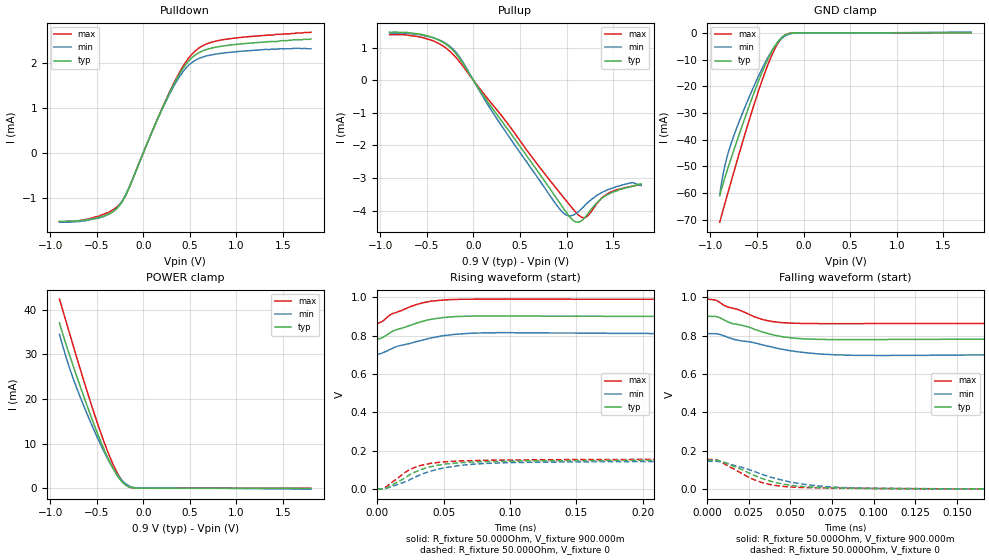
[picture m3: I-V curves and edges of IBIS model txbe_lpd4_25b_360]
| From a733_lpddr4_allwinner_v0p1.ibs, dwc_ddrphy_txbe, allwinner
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[Model] txbe_lpd4_25b_360
Model_type   I/O
Polarity   Non-Inverting
Enable   Active-High
C_comp   1.517pF   1.510pF   1.525pF
C_comp_pullup   266.985fF   265.527fF   270.313fF
C_comp_pulldown 1.187pF   1.184pF   1.202pF
Vinh = 500.000mV
Vinl = 390.000mV
Vmeas = 440.000mV
Vref = 440.000mV
Rref = 50Ohms
Cref = 0pF
[Model Spec]
Vinh   500.000mV   484.000mV   528.000mV
Vinl   390.000mV   364.000mV   408.000mV
Vmeas   440.000mV   424.000mV   468.000mV
Vref   440.000mV   424.000mV   468.000mV
D_overshoot_ampl_h 0.1 NA   NA
D_overshoot_ampl_l 0.1 NA   NA
D_overshoot_area_l 300.000m NA   NA
D_overshoot_area_h 300.000m NA   NA
[Receiver Thresholds]
Vth = 220.000mV
Vth_min = 212.000mV
Vth_max = 234.000mV
Vinh_ac = 60.000mV
Vinh_dc = 60.000mV
Vinl_ac = -60.000mV
Vinl_dc = -60.000mV
Tslew_ac = 5.000ns
Threshold_sensitivity = 0.5
Reference_supply Pullup_ref
[Temperature Range]   25.000   125.000   -40.000
[Voltage Range]   900.000mV   810.000mV   990.000mV
[GND Clamp Reference]   0.00V   0.00V   0.00V
[C Comp Corner]
| variable   typ   min   max
C_comp 1.517pF   1.525pF   1.510pF
C_comp_pullup 270.313fF   266.985fF   265.527fF
C_comp_pulldown 1.187pF   1.202pF   1.184pF
[Pulldown Reference]   0.00V   0.00V   0.00V
[POWER Clamp Reference]   900.000mV   810.000mV   990.000mV
[Pullup Reference]   900.000mV   810.000mV   990.000mV
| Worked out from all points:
|   slope of the pulldown table from 0 to 0.135 V, typ, clamps not added: 203 ohm
|   slope of the pullup table from 0 to 0.135 V, typ, clamps not added: 231 ohm
|   GND clamp passes 1 mA (typ) near -0.21 V on its own axis
|   POWER clamp passes 1 mA (typ) near -0.21 V on its own axis
|   rising waveform, R_fixture 50.000Ohm, V_fixture 900.000m: 20-80 % time 27.5ps typ, 32.3ps min, 24.4ps max; typ from 0.782 V to 0.9 V
|   rising waveform, R_fixture 50.000Ohm, V_fixture 0: 20-80 % time 29.4ps typ, 37.3ps min, 22.8ps max; typ from 0 V to 0.151 V
|   falling waveform, R_fixture 50.000Ohm, V_fixture 900.000m: 20-80 % time 27.4ps typ, 35.3ps min, 22.4ps max; typ from 0.9 V to 0.782 V
|   falling waveform, R_fixture 50.000Ohm, V_fixture 0: 20-80 % time 28.1ps typ, 35.5ps min, 22.6ps max; typ from 0.152 V to 0.001 V
[GND Clamp]
-900mV    -60.96mA   -60.97mA   -70.98mA
-870mV    -57.21mA   -54.02mA   -67.17mA
-840mV    -53.78mA   -49.01mA   -63.42mA
-810mV    -50.5mA    -45.07mA   -59.71mA
-760mV    -45.19mA   -39.68mA   -53.57mA
-650mV    -33.92mA   -29.66mA   -40.39mA
-480mV    -17.79mA   -15.95mA   -21.39mA
-370mV    -8.938mA   -8.44mA    -10.81mA
-290mV    -3.987mA   -4.171mA   -4.779mA
-200mV    -815.6uA   -1.181mA   -860.1uA
-40mV     -3.558uA   -14.64uA   -1.452uA
1.8V      69.75uA    286.1uA    56.25uA
[Power Clamp]
-900mV    37.05mA    34.48mA    42.39mA
-800mV    30.35mA    27.44mA    35.29mA
-720mV    25.39mA    22.72mA    29.66mA
-580mV    17.13mA    15.46mA    20.17mA
-440mV    9.616mA    8.975mA    11.44mA
-360mV    5.884mA    5.743mA    7.061mA
-280mV    2.838mA    3.054mA    3.426mA
-220mV    1.222mA    1.544mA    1.451mA
-170mV    436.8uA    704uA      476uA
-110mV    79.14uA    191.8uA    65.22uA
-30mV     3.305uA    12uA       1.985uA
1.8V      -30.08uA   -217.5uA   -7.981uA
[Pulldown]
-900mV    -1.52mA    -1.54mA    -1.53mA
-670mV    -1.5mA     -1.52mA    -1.5mA
-420mV    -1.4mA     -1.41mA    -1.36mA
-310mV    -1.283mA   -1.277mA   -1.243mA
-230mV    -1.1mA     -1.079mA   -1.081mA
-150mV    -765.5uA   -754.7uA   -763.2uA
130mV     641.9uA    635.2uA    644.4uA
320mV     1.489mA    1.452mA    1.511mA
460mV     1.971mA    1.887mA    2.026mA
600mV     2.226mA    2.097mA    2.33mA
930mV     2.392mA    2.231mA    2.533mA
1.8V      2.53mA     2.31mA     2.68mA
[Pullup]
-900mV    1.48mA     1.46mA     1.4mA
-470mV    1.34mA     1.34mA     1.25mA
-220mV    921uA      962uA      800uA
270mV     -1.121mA   -1.258mA   -971.1uA
880mV     -3.569mA   -3.778mA   -3.281mA
990mV     -4.024mA   -4.123mA   -3.673mA
1.08V     -4.319mA   -4.127mA   -3.985mA
1.13V     -4.354mA   -4.024mA   -4.139mA
1.21V     -4.166mA   -3.8mA     -4.2mA
1.44V     -3.51mA    -3.36mA    -3.48mA
1.68V     -3.27mA    -3.15mA    -3.26mA
1.8V      -3.18mA    -3.23mA    -3.19mA
[Ramp]
R_load=50.000Ohm
dV/dt_r   80.343mV/29.500ps  75.521mV/36.000ps  84.580mV/24.500ps
dV/dt_f   80.343mV/28.500ps  75.522mV/36.500ps  84.583mV/24.000ps
[Rising waveform]
R_fixture=50.000Ohm
V_fixture=900.000m
V_fixture_min=810.000m
V_fixture_max=990.000m
0s        782mV      702mV      864mV
4ps       790mV      710mV      875mV
11ps      820mV      732mV      913mV
15ps      832mV      744mV      923mV
28ps      861mV      766mV      959mV
38ps      882mV      784mV      976mV
51ps      895mV      801mV      987mV
68ps      902mV      812mV      990mV
90ps      903mV      816mV      991mV
277ps     900mV      810mV      990mV
[Rising waveform]
R_fixture=50.000Ohm
V_fixture=0
0s        -244.5uV   1.264mV    -205.5uV
4ps       631.6uV    1.264mV    2.206mV
8ps       8.837mV    6.092mV    18.31mV
21ps      59.29mV    37.68mV    86.74mV
29ps      90.59mV    63.85mV    115mV
39ps      115mV      90.73mV    132mV
50ps      129mV      110mV      142mV
70ps      140mV      129mV      148mV
103ps     146mV      139mV      152mV
280ps     151mV      145mV      155mV
[Falling waveform]
R_fixture=50.000Ohm
V_fixture=900.000m
V_fixture_min=810.000m
V_fixture_max=990.000m
0s        900mV      810mV      990mV
6ps       898mV      809mV      981mV
12ps      873mV      792mV      950mV
19ps      857mV      775mV      934mV
33ps      819mV      752mV      884mV
39ps      805mV      740mV      873mV
49ps      790mV      722mV      865mV
69ps      780mV      703mV      862mV
87ps      779mV      697mV      862mV
282ps     782mV      701mV      864mV
[Falling waveform]
R_fixture=50.000Ohm
V_fixture=0
0s        152mV      146mV      156mV
6ps       151mV      145mV      152mV
11ps      138mV      137mV      129mV
21ps      102mV      114mV      80.95mV
32ps      59.3mV     80.4mV     37.55mV
39ps      39.74mV    61.1mV     22.5mV
49ps      21.98mV    39.77mV    12.41mV
70ps      8.399mV    14.95mV    6.924mV
93ps      4.787mV    5.79mV     4.742mV
282ps     663uV      1.38mV     608.2uV
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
